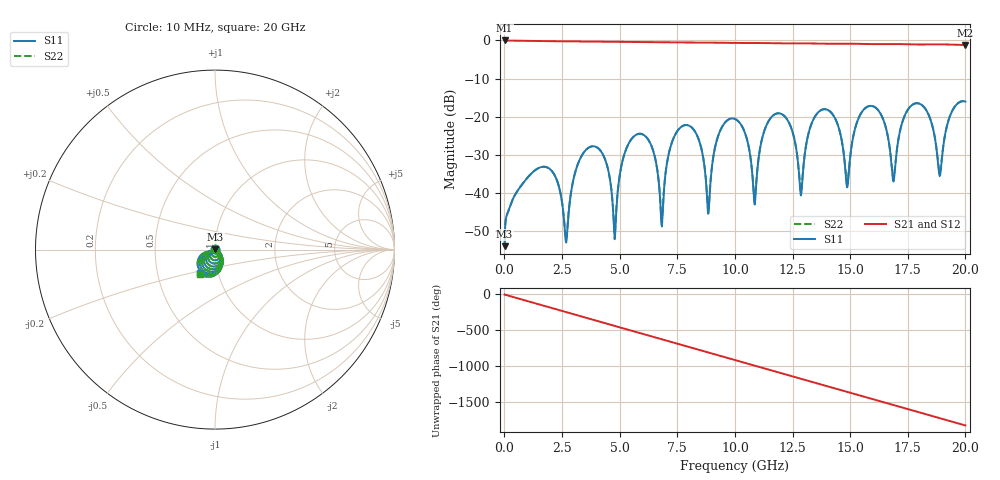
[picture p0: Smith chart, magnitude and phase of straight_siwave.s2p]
! Solver applicability map - 40 x 16 mm symmetric stripline
! Case: straight_siwave
! Sweep: 10 MHz - 20 GHz, 25 MHz step, 4 cores
# GHz S MA R 50.000000
! Terminal data exported
! Port[1] = U1.PAD1.SIG
! Port[2] = U2.PAD1.SIG
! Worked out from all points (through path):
!   801 points, 10 MHz to 20 GHz, reference 50 ohm
!   highest |S21| = -0.02 dB at 10 MHz (marker M1); lowest = -1.2 dB at 19.98 GHz (marker M2)
!   group delay of S21, straight-line fit = 254 ps
!   lowest |S11| = -53.9 dB at 10 MHz (marker M3), VSWR 1.00, Z = 50.2 + j0.0933 ohm
!   |S11| at or under -10 dB: start of sweep to end of sweep
!   |S22| runs from -53.9 to -15.9 dB; largest |S21 - S12| = 0
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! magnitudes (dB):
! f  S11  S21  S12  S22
! 10 MHz  -53.9  0.0  0.0  -53.9
! 1.66 GHz  -33.1  -0.2  -0.2  -33.1
! 2.685 GHz  -53.0  -0.2  -0.2  -52.2
! 3.36 GHz  -30.2  -0.3  -0.3  -30.2
! 4.26 GHz  -29.8  -0.3  -0.3  -29.7
! 4.785 GHz  -52.1  -0.4  -0.4  -50.7
! 5.635 GHz  -25.1  -0.4  -0.4  -25.1
! 6.685 GHz  -36.4  -0.5  -0.5  -36.3
! 7.96 GHz  -22.2  -0.6  -0.6  -22.2
! 8.86 GHz  -45.3  -0.6  -0.6  -44.2
! 10.01 GHz  -20.6  -0.7  -0.7  -20.6
! 10.86 GHz  -43.0  -0.7  -0.7  -41.9
! 11.59 GHz  -20.1  -0.7  -0.7  -20.1
! 12.86 GHz  -40.7  -0.8  -0.8  -39.6
! 13.36 GHz  -21.3  -0.8  -0.8  -21.3
! 14.86 GHz  -38.5  -0.9  -0.9  -37.6
! 15.69 GHz  -17.6  -1.0  -1.0  -17.6
! 16.68 GHz  -26.9  -0.9  -0.9  -26.8
! 18.04 GHz  -16.7  -1.1  -1.1  -16.7
! 18.89 GHz  -35.6  -1.0  -1.0  -34.8
! 19.98 GHz  -16.0  -1.2  -1.2  -16.0
! 20 GHz  -16.0  -1.2  -1.2  -16.0
